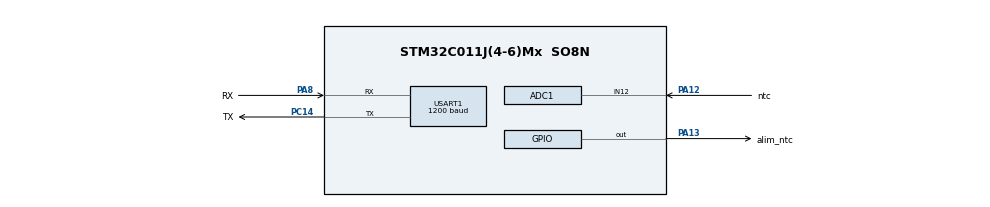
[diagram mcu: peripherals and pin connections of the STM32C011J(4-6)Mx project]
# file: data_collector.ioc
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ADC1.Channel-0\#ChannelRegularConversion=ADC_CHANNEL_TEMPSENSOR
ADC1.Channel-1\#ChannelRegularConversion=ADC_CHANNEL_VREFINT
ADC1.Channel-2\#ChannelRegularConversion=ADC_CHANNEL_VDDA
ADC1.Channel-3\#ChannelRegularConversion=ADC_CHANNEL_12
ADC1.ClockPrescaler=ADC_CLOCK_SYNC_PCLK_DIV1
ADC1.ContinuousConvMode=DISABLE
ADC1.DMAContinuousRequests=DISABLE
ADC1.EOCSelection=ADC_EOC_SINGLE_CONV
ADC1.ExternalTrigConv=ADC_SOFTWARE_START
ADC1.NbrOfConversion=4
ADC1.NbrOfConversionFlag=1
ADC1.OffsetNumber-3\#ChannelRegularConversion=ADC_OFFSET_NONE
ADC1.OversamplingMode=DISABLE
ADC1.Rank-0\#ChannelRegularConversion=1
ADC1.Rank-1\#ChannelRegularConversion=2
ADC1.Rank-2\#ChannelRegularConversion=3
ADC1.Rank-3\#ChannelRegularConversion=4
ADC1.SamplingTime-0\#ChannelRegularConversion=ADC_SAMPLINGTIME_COMMON_1
ADC1.SamplingTime-1\#ChannelRegularConversion=ADC_SAMPLINGTIME_COMMON_1
ADC1.SamplingTime-2\#ChannelRegularConversion=ADC_SAMPLINGTIME_COMMON_1
ADC1.SamplingTime-3\#ChannelRegularConversion=ADC_SAMPLINGTIME_COMMON_1
ADC1.SamplingTimeCommon1=ADC_SAMPLETIME_160CYCLES_5
ADC1.SamplingTimeCommon2=ADC_SAMPLETIME_160CYCLES_5
ADC1.SelectedChannel=ADC_CHANNEL_TEMPSENSOR|ADC_CHANNEL_VREFINT|ADC_CHANNEL_12|ADC_CHANNEL_VDDA
ADC1.Sequencer=FULLY_CONFIGURABLE
ADC1.TriggerFrequencyMode=ADC_TRIGGER_FREQ_LOW
ADC1.master=1
Mcu.Family=STM32C0
Mcu.Name=STM32C011J(4-6)Mx
Mcu.Package=SO8N
NVIC.ADC1_IRQn=true\:0\:0\:false\:false\:true\:true\:true\:true
NVIC.FLASH_IRQn=true\:0\:0\:false\:false\:true\:true\:true\:true
NVIC.RTC_IRQn=true\:0\:0\:false\:false\:true\:true\:true\:true
NVIC.USART1_IRQn=true\:0\:0\:false\:false\:true\:true\:true\:true
PA12\ [PA10].GPIO_Label=ntc
PA12\ [PA10].Mode=IN12
PA12\ [PA10].Signal=ADC1_IN12
PA13.GPIO_Label=alim_ntc
PA13.Signal=GPIO_Output
PA8.GPIO_Label=RX
PA8.GPIO_ModeDefaultPP=GPIO_MODE_AF_OD
PA8.Mode=Asynchronous
PA8.PinState=GPIO_PIN_RESET
PA8.Signal=USART1_RX
PA8__PA11\ [PA9].StandardMode=true
PC14-OSCX_IN\ (PC14).GPIO_Label=TX
PC14-OSCX_IN\ (PC14).Mode=Asynchronous
PC14-OSCX_IN\ (PC14).Signal=USART1_TX
PC14-OSCX_IN\ (PC14)__PB7.StandardMode=true
PC15-OSCX_OUT\ (PC15)__PA14-BOOT0__PB6.StandardMode=true
PF2-NRST__PA0__PA1__PA2.StandardMode=true
ProjectManager.HeapSize=0x200
ProjectManager.StackSize=0x400
ProjectManager.TargetToolchain=STM32CubeIDE
RCC.ADCFreq_Value=750000
RCC.AHBCLKDivider=RCC_HCLK_DIV8
RCC.AHBFreq_Value=93750
RCC.CortexFreq_Value=93750
RCC.EXTERNAL_CLOCK_VALUE=12288000
RCC.HCLKFreq_Value=93750
RCC.HSE_VALUE=8000000
RCC.HSIKERCLKDivider=RCC_HSIKER_DIV8
RCC.HSISYSCLKDivider=RCC_HSI_DIV64
RCC.HSI_VALUE=48000000
RCC.LSE_VALUE=32768
RCC.SYSCLKFreq_VALUE=750000
RTC.Alarm=RTC_ALARM_A
USART1.BaudRate=1200
USART1.VirtualMode-Asynchronous=VM_ASYNC
VP_ADC1_TempSens_Input.Mode=IN-TempSens
VP_ADC1_Vdda_Input.Mode=IN-VDDA
VP_ADC1_Vref_Input.Mode=IN-Vrefint
VP_RTC_VS_RTC_Activate.Mode=RTC_Enabled
VP_RTC_VS_RTC_Alarm_A_Intern.Mode=Alarm A
VP_RTC_VS_RTC_Calendar.Mode=RTC_Calendar
board=custom

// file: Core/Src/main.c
/* USER CODE BEGIN Header */
/**
  ******************************************************************************
  * @file           : main.c
  * @brief          : Main program body
  ******************************************************************************
  * @attention
  *
  * Copyright (c) 2025 STMicroelectronics.
  * All rights reserved.
  *
  * This software is licensed under terms that can be found in the LICENSE file
  * in the root directory of this software component.
  * If no LICENSE file comes with this software, it is provided AS-IS.
  *
  ******************************************************************************
  Normal current sleep consumption (sleeping) = 110uA
  The battery CR2032 (220mAh) will work for 80days (2000 hours)

  STM32C011J6Mx works from 1.7V up to 3.6V
  connections
  GND---ntc10k--PA8(ntc)--res20k-----PA13(alim_ntc)
  PA12(memory_print)--switch---VDD
  PC14(TX)-->UART TX 1200BPS
  PC15--SWDCLK
  PC13--SWDIO
  PF2 --RESET
  PIN2--VDD
  PIN3--VSS GND
  Don't need external Crystal. It uses the internal RC.
  This schematics should consider 2 capacitors 0.1uF and 10uf between GND and VDD near the chip
  and 1uF on Reset Port NRST
  When press the switch send the latest 240(max) readings to UART TX 1200bps and clean the buffer
  You can configure the interval between readings from 1 to 60 minutes on main.h
  "#define SLEEP_TIME 60  //how many minutes between measures"
  The readings are stored on internal RAM, then if you turn off the batteries,
  will lost the measures.

  When press the switch will output the readings. In this test the interval was configured as 1 minute.
  You can setup the initial date and time and compile.

04/08/25 12:38:04 T:22.2 3.1V
04/08/25 12:39:04 T:22.4 3.1V
04/08/25 12:40:04 T:22.2 3.1V
04/08/25 12:41:04 T:22.2 3.1V
04/08/25 12:42:04 T:22.1 3.1V
04/08/25 12:43:04 T:22.1 3.1V
04/08/25 12:44:04 T:22.1 3.1V
04/08/25 12:45:04 T:22.8 3.1V
04/08/25 12:46:04 T:22.5 3.1V
04/08/25 12:47:04 T:22.6 3.1V

  ******************************************************************************
  ******************************************************************************
  ******************************************************************************
  ******************************************************************************
  */
/* USER CODE END Header */
#include "main.h"
#include "adc.h"
#include "rtc.h"
#include "gpio.h"

/* USER CODE BEGIN Includes */

#include "stdio.h"
#include "math.h"
#include "stm32c0xx_ll_bus.h"
#include "stm32c0xx_hal.h"
#include "string.h"
#include "usart.h"

/* USER CODE END Includes */

/* USER CODE BEGIN PTD */

// QUEUE DEFINITION
 //fifo to TCP
fifo_queue q;
queue_item item;

//time
time_struct timestamp;

/* USER CODE END PTD */

/* USER CODE BEGIN PD */
//VARIABLE FOR AD CONVERSION
uint16_t ad_value =0;
uint32_t qty_of_samples=1;
/* USER CODE END PD */

/* USER CODE BEGIN PV */
relay_st relay;
relay_st relay_on_off(uint8_t control);
uint8_t triac_zc_on=OFF;
static uint16_t vref_raw,temp_raw,vdda_raw,ch12_raw;

flash_st flash_variable;
uint8_t calibration_completed=OFF;
uint32_t ext_cnt=0;
volatile uint8_t print_memory=OFF;
volatile uint8_t it_ready=ON;
char *str_cmd[QTY_CMD] = CMD_DEFINITION;
extern char rx_buffer[RX_BUFFER_SIZE];

/* USER CODE END PV */

void SystemClock_Config(void);

/* USER CODE BEGIN 0 */
typedef struct AdcValues{
  uint16_t Raw[2]; /* Raw values from ADC */
  double IntSensTmp; /* Temperature */
}adcval_t;
adcval_t Adc;
flag_t Flg = {0, };

uint32_t minutos_atual=0;

//redirect the printf to usart1
int _write(int file, char *ptr, int len) {
    for (int i = 0; i < len; i++) {
        while (!LL_USART_IsActiveFlag_TXE(USART1));  // Wait for the buffer to be empty
        LL_USART_TransmitData8(USART1, ptr[i]);  // Send a character
    }
    while (!LL_USART_IsActiveFlag_TC(USART1));  // Wait for the transmission to finish
    return len;
}

void exec_cmd(uint8_t cmd){
       switch(cmd){

       case 0:
    	   printf("CMD MEM\n\r");
    	   break;
       case 1:
    	   break;
       case 2:
    	   //Init_flash_logging();
    	   //Flash_EraseLogVariable(FLASH_PAGE_8,8);
   		   //flash_variable.working_timestamp=0;
   		   //flash_variable.index=0;
   		   //Flash_WriteRelayVariable(&flash_variable,FLASH_USER_START_ADDR);
    	   //printf("flash reseted\n\r");
    	   break;
       case 3:
    	   break;
       case 4:
    	   //flash_logg_update();
           //printf("force updated\n\r");
    	   break;
       default:

       }

}

void print_float(float number) {
    int32_t mantissa = (int32_t)number;  // Integer part
    float intermediate = number - mantissa;
    int32_t expoente = (int32_t)(intermediate * 100000); // Decimal part (5 digits)

    // Ensure the exponent is positive
    if (expoente < 0) expoente *= -1;

    // Correct printing ensuring 5 digits in the decimal part
    printf("%ld.%05ld", mantissa, expoente);
}

void print_float_1dec(float number) {
    int32_t mantissa = (int32_t)number;  // Integer part
    float intermediate = number - mantissa;
    int32_t expoente = (int32_t)(intermediate * 100000); // Decimal part (5 digits)

    // Ensure the exponent is positive
    if (expoente < 0) expoente *= -1;

    while (expoente >= 10) {
    	expoente /= 10;
        }
    // Correct printing ensuring 1 digit
    printf("%ld.%ld", mantissa, expoente);
}

void sort(float* data, int n) {
    for (int i = 0; i < n - 1; ++i) {

        for (int j = 0; j < n - i - 1; ++j) {
            if (data[j] > data[j + 1]) {
                float temp = data[j];
                data[j] = data[j + 1];
                data[j + 1] = temp;
            }
        }
    }
}

float trimmed_mean(float* data, int n, float trim_percentage) {
    int trim_count = (int)(n * trim_percentage / 100);
    sort(data, n);
    float sum = 0.0;
    for (int i = trim_count; i < n - trim_count; ++i) {
        sum += data[i];
    }
    int remaining_elements = n - 2 * trim_count;
    float trimmed_mean_value = sum / remaining_elements;
    return trimmed_mean_value;
}

void ADC_Init(void)
{
    // Enable temperature sensor and VrefInt
    LL_ADC_SetCommonPathInternalCh(ADC1_COMMON, LL_ADC_PATH_INTERNAL_TEMPSENSOR | LL_ADC_PATH_INTERNAL_VREFINT);

    // ADC configuration
    LL_ADC_SetResolution(ADC1, LL_ADC_RESOLUTION_12B);
    LL_ADC_SetDataAlignment(ADC1, LL_ADC_DATA_ALIGN_RIGHT);
    LL_ADC_SetLowPowerMode(ADC1, LL_ADC_LP_MODE_NONE);

    // Configure channel sequence: Temperature (RANK 1) and VrefInt (RANK 2)
    LL_ADC_REG_SetSequencerRanks(ADC1, LL_ADC_REG_RANK_1, LL_ADC_CHANNEL_TEMPSENSOR);
    LL_ADC_REG_SetSequencerRanks(ADC1, LL_ADC_REG_RANK_2, LL_ADC_CHANNEL_VREFINT);
    LL_ADC_REG_SetSequencerRanks(ADC1, LL_ADC_REG_RANK_3, LL_ADC_CHANNEL_VDDA);
    LL_ADC_REG_SetSequencerRanks(ADC1, LL_ADC_REG_RANK_4, LL_ADC_CHANNEL_12);

    //LL_ADC_REG_SetSequencerScanDirection(ADC1, LL_ADC_REG_SEQ_SCAN_DIR_FORWARD);

    // Set sampling times for higher accuracy
    LL_ADC_SetChannelSamplingTime(ADC1, LL_ADC_CHANNEL_TEMPSENSOR, LL_ADC_SAMPLINGTIME_160CYCLES_5);
    LL_ADC_SetChannelSamplingTime(ADC1, LL_ADC_CHANNEL_VREFINT, LL_ADC_SAMPLINGTIME_160CYCLES_5);
    LL_ADC_SetChannelSamplingTime(ADC1, LL_ADC_CHANNEL_VDDA, LL_ADC_SAMPLINGTIME_160CYCLES_5);
    LL_ADC_SetChannelSamplingTime(ADC1, LL_ADC_CHANNEL_12, LL_ADC_SAMPLINGTIME_160CYCLES_5);

    // Enable the ADC
    LL_ADC_Enable(ADC1);

    // Wait for stabilization
    while (!LL_ADC_IsActiveFlag_ADRDY(ADC1));
}

static uint16_t ADC_ReadSingleChannel(uint32_t channel)
{
    uint32_t timeout;

    // garante ADC ligado
    if (!LL_ADC_IsEnabled(ADC1)) {
        LL_ADC_Enable(ADC1);
        while (!LL_ADC_IsActiveFlag_ADRDY(ADC1));
    }

    // habilita canais internos quando necessário
    if (channel == LL_ADC_CHANNEL_TEMPSENSOR ||
        channel == LL_ADC_CHANNEL_VREFINT  ||
        channel == LL_ADC_CHANNEL_VDDA)
    {
        LL_ADC_SetCommonPathInternalCh(__LL_ADC_COMMON_INSTANCE(ADC1),
            LL_ADC_PATH_INTERNAL_TEMPSENSOR |
            LL_ADC_PATH_INTERNAL_VREFINT  );
    }

    // sequenciador com 1 rank só
    LL_ADC_REG_SetSequencerLength(ADC1, LL_ADC_REG_SEQ_SCAN_DISABLE);
    LL_ADC_REG_SetSequencerRanks(ADC1, LL_ADC_REG_RANK_1, channel);

    // espera CCRDY (igual CubeMX faz)
    timeout = 100000;
    while (!LL_ADC_IsActiveFlag_CCRDY(ADC1) && --timeout);
    LL_ADC_ClearFlag_CCRDY(ADC1);

    // limpa flags antigas
    LL_ADC_ClearFlag_EOC(ADC1);
    LL_ADC_ClearFlag_EOS(ADC1);
    LL_ADC_ClearFlag_OVR(ADC1);

    // start conversão
    LL_ADC_REG_StartConversion(ADC1);

    // espera fim da conversão (agora é 1 canal só, EOC vem sempre)
    timeout = 1000000;
    while (!LL_ADC_IsActiveFlag_EOC(ADC1) && --timeout);
    if (timeout == 0) {
        printf("ADC timeout ch=%lu ISR=0x%08lx\n\r", channel, ADC1->ISR);
        return 0;
    }

    return LL_ADC_REG_ReadConversionData12(ADC1);
}

void ADC_Read_Temperature_And_Vref(uint16_t *temp_raw,
                                   uint16_t *vref_raw,
                                   uint16_t *vdda_raw,
                                   uint16_t *ch12_raw)
{
    *temp_raw = ADC_ReadSingleChannel(LL_ADC_CHANNEL_TEMPSENSOR);
    *vref_raw = ADC_ReadSingleChannel(LL_ADC_CHANNEL_VREFINT);
    *vdda_raw = ADC_ReadSingleChannel(LL_ADC_CHANNEL_VDDA);
    *ch12_raw = ADC_ReadSingleChannel(LL_ADC_CHANNEL_12);
}

float getTemperatureFromVoltage(float v_adc, float vdd) {
    // Temperatures in degrees Celsius
    static const float temps[] = {0, 5, 10, 15, 20, 25, 30, 35, 40, 45, 50};

    // Typical resistance of 10k NTC for each temperature (Ω)
    static const float r_ntc[] = {32650, 25200, 19560, 15300, 12100, 9600, 7700, 6200, 5000, 4050, 3300};

    // Expected voltage for each point (computed at runtime only in the 1st call)
    float volts[11];

    for (int i = 0; i < 11; i++) {
            volts[i] = vdd * (r_ntc[i] / (r_ntc[i] + RESISTOR_VALUE));
    }

    // Linear interpolation between two points in the table
    for (int i = 0; i < 10; i++) {
        if (v_adc <= volts[i] && v_adc >= volts[i + 1]) {
            float t = temps[i];
            float tNext = temps[i + 1];
            float v1 = volts[i];
            float v2 = volts[i + 1];
            return t + (v1 - v_adc) * (tNext - t) / (v1 - v2);
        }
    }

    // Out of range — optional: extrapolation or return error
    return -100.0f;
}

sensor_item Get_Temperature(void)
{

	sensor_item data;

    #define VREF_VOLTAGE_CALIBRATION 3.3f //AT THE MANUAL IS WROTE 3.0VOLTS Raw data acquired at a temperature of 30 °C (± 5 °C), VDDA = VREF+ = 3.0 V (± 10 mV)
    #define AVG_SLOPE (0.00253f) //  volts/grau
    #define VREFINT_CAL  (*((uint16_t*)0x1FFF756A)) // Valor de calibração de referência
    #define TS_CAL_30      (*((uint16_t*)0x1FFF7568)) // ADC value @ 30°C VDDA 3.3V

    #define TEMPERATURE_CALIBRATION 16 // ADJUST HERE THE CORRECT TEMPERATURE OF CALIBRATION
    //#define CALIBRATION_ERROR_ADJUST -5 //degree
    #define VOLTAGE_ERROR_ADJUST 0.022
	//COMPENSATION
    #define FATOR_A 3.883f
    #define FATOR_B -11.60f

	float Temperature=0,Internal_Temperature=0, V_Temp=0,V_Cal_30=0,V_Ad12=0;
	//static uint16_t vref_raw,temp_raw,vdda_raw,ch12_raw;
    float vdda_real=0;
    ADC_Read_Temperature_And_Vref(&temp_raw,&vref_raw,&vdda_raw,&ch12_raw);

#ifdef PRINT_A
	printf("temp_raw: %d, ref_raw: %d, vdda_raw: %d, ch12_raw: %d\n\r", temp_raw, vref_raw,vdda_raw,ch12_raw);
    printf("VREFINT_CAL:%d\n\r",VREFINT_CAL);
    printf("TS_CAL_30:%d\n\r",TS_CAL_30);
#endif

	//vdda_real= VOLTAGE_ERROR_ADJUST+ (VREF_VOLTAGE_CALIBRATION * (*VREFINT_CAL_ADDR)) / (float)vref_raw;  //resultado em Volts

	vdda_real = VOLTAGE_ERROR_ADJUST +( (VREF_VOLTAGE_CALIBRATION * (float)(*VREFINT_CAL_ADDR)) / (float)vref_raw);
    V_Cal_30 = (float)TS_CAL_30 * (VREF_VOLTAGE_CALIBRATION / 4095.0f);  //how many volts the sensor had at 30 degrees with VDDA at 3.3V with an error of ±5 degrees
    V_Temp   = (float)temp_raw *  (vdda_real / 4095.0f);  //how many volts the sensor is actually reading
    V_Ad12     = (float)ch12_raw *  (vdda_real / 4095.0f);
    Internal_Temperature = ((V_Temp -V_Cal_30) / AVG_SLOPE)+TEMPERATURE_CALIBRATION;
    Internal_Temperature = Internal_Temperature - (FATOR_A * vdda_real + FATOR_B);

#ifdef PRINT_A
    printf("vdda_real:");print_float(vdda_real);printf("\n\r");
    printf("V_Cal_30:");print_float(V_Cal_30);printf("\n\r");
    printf("V_Temp:");print_float(V_Temp);printf("\n\r");
    printf("Internal_Temp:");print_float(Internal_Temperature);printf("\n\r");
    printf("V_Ad12:");print_float(V_Ad12);printf("\n\r");
    printf("T_NTC:");print_float(getTemperatureFromVoltage(V_Ad12,vdda_real));printf("\n\r");

#endif

    //printf("T_NTC:");print_float(getTemperatureFromVoltage(V_Ad8,vdda_real));printf("\n\r");
    Temperature=getTemperatureFromVoltage(V_Ad12,vdda_real)+NTC_TEMPERATURE_ADJUST; //from NTC
    //deploy a factor to change the temperature using the vdda_real as parameter
    //print_float(Temperature);printf("\n\r");

    data.temp=Temperature;
    data.vdda_real=vdda_real;

    return data;  // Returns the integer temperature in °C

}

HAL_StatusTypeDef Flash_Write(flash_st *data,uint8_t page_number)
{
    HAL_StatusTypeDef status = HAL_OK;
    FLASH_EraseInitTypeDef eraseInitStruct;
    uint32_t PageError = 0;
    uint32_t flashAddress = (page_number * FLASH_PAGE_SIZE)+0x08000000; //2kbytes/page

    // Unlock the Flash
    HAL_FLASH_Unlock();

    // Configuration to erase the page where data will be written
    eraseInitStruct.TypeErase = FLASH_TYPEERASE_PAGES;
    eraseInitStruct.Page = 14;
    eraseInitStruct.NbPages = 1;

    status = HAL_FLASHEx_Erase(&eraseInitStruct, &PageError);
    if (status != HAL_OK)
    {
        HAL_FLASH_Lock();
        return status;
    }

    // Write the entire structure, 8 bytes at a time
    uint64_t *data_ptr = (uint64_t *)data;
    for (uint32_t i = 0; i < sizeof(flash_st) / sizeof(uint64_t); i++)
    {
        status = HAL_FLASH_Program(FLASH_TYPEPROGRAM_DOUBLEWORD, flashAddress, data_ptr[i]);
        if (status != HAL_OK)
        {
            HAL_FLASH_Lock();
            return status;
        }
        flashAddress += sizeof(uint64_t);
    }

    // Lock the Flash again
    HAL_FLASH_Lock();

    return HAL_OK;
}

HAL_StatusTypeDef Flash_Erase(uint8_t page_number,uint8_t qty_pages){
    HAL_StatusTypeDef status;
    FLASH_EraseInitTypeDef eraseInitStruct;
    uint32_t PageError = 0;

    // Unlock the flash memory for write access
    HAL_FLASH_Unlock();

    eraseInitStruct.TypeErase   = FLASH_TYPEERASE_PAGES;
    eraseInitStruct.NbPages     = qty_pages;
    //FLASH_PAGE_NB
    eraseInitStruct.Page = page_number;

    // Erase the flash page
    status = HAL_FLASHEx_Erase(&eraseInitStruct, &PageError);
    if (status != HAL_OK)
    {
        HAL_FLASH_Lock();
        return status;
    }

    // Lock the flash memory after writing
    HAL_FLASH_Lock();

    return HAL_OK;
}

void Flash_Read(flash_st *data,uint8_t page_number)
{
	uint32_t flashAddress_data=(page_number*FLASH_PAGE_SIZE)+0x08000000;
    memcpy(data, (void *)flashAddress_data, sizeof(flash_st));
}

sensor_item temperature_level_control(void){

	sensor_item data;
	//float temperature=0;
	float vdda;
	float temp[QUANT_DATA];
	uint32_t i=0;

   	while (i < QUANT_DATA){
   	  data =Get_Temperature();
      temp[i] = data.temp; //CALIBRATION ADJUSTED
      vdda= data.vdda_real;
      //temp[i] = Get_Temperature() ; //WITHOUT CALIBRATION ADJUST

	  i++;
  	}
  	//relay=relay_on_off(relay_present_status);

    data.temp=trimmed_mean(temp, QUANT_DATA, TRIM_PERCENTAGE);
    data.temp=FATOR_A_NTC*data.temp+FATOR_B_NTC;
    data.vdda_real=vdda;
    return data;
}

//QUEUE FUNCTIONS
void init_queue(fifo_queue *q)
{
    q->head = 0;
    q->tail = 0;
    q->count = 0;
}

//FIFO
int enqueue_FIFO(fifo_queue *q, queue_item item)
{
    if (q->count == QUEUE_SIZE)
    {
        // Queue full
        return -1;
    }

    q->buffer[q->tail] = item;
    q->tail = (q->tail + 1) % QUEUE_SIZE;
    q->count++;

    return 0; // Success
}

//circular queue with overwrite
int enqueue(fifo_queue *q, queue_item item)
{
    if (q->count == QUEUE_SIZE)
    {
        // Queue full: discard the oldest (head)
        q->head = (q->head + 1) % QUEUE_SIZE;
        q->count--; // since we are going to insert a new one, we decrement first
    }

    q->buffer[q->tail] = item;
    q->tail = (q->tail + 1) % QUEUE_SIZE;
    q->count++;

    return 0; // Success
}

int dequeue(fifo_queue *q, queue_item *item)
{
    if (q->count == 0)
    {
        // Queue empty
        return -1;
    }

    *item = q->buffer[q->head];
    q->head = (q->head + 1) % QUEUE_SIZE;
    q->count--;

    return 0; // Success
}
int is_empty(fifo_queue *q)
{
    return (q->count == 0);
}
int is_full(fifo_queue *q)
{
    return (q->count == QUEUE_SIZE);
}

void Ler_Tempo_RTC(uint8_t* horas, uint8_t* minutos)
{
    // Make sure you are accessing correctly (in RTC read sequence)
    LL_RTC_DisableWriteProtection(RTC);

    // Read the values in BCD
    uint8_t bcd_horas   = LL_RTC_TIME_GetHour(RTC);
    uint8_t bcd_minutos = LL_RTC_TIME_GetMinute(RTC);

    // Convert to decimal (BIN)
    *horas   = __LL_RTC_CONVERT_BCD2BIN(bcd_horas);
    *minutos = __LL_RTC_CONVERT_BCD2BIN(bcd_minutos);

    LL_RTC_EnableWriteProtection(RTC);
}

void button_pressed_test(void){
    uint32_t item_nro=1;
    //if press the button, print the queue
	if (print_memory==ON){
	   	print_memory=OFF;
		SystemClock_Config(); // Need to restore HSI + PLL if needed
		printf("Queue:\n\r");
    	while (dequeue(&q, &item) == 0) {

    		printf("%04ld %02d/%02d/%02d %02d:%02d:%02d ",item_nro,
    		       __LL_RTC_CONVERT_BCD2BIN(item.timestamp.bcd_dia),
    		       __LL_RTC_CONVERT_BCD2BIN(item.timestamp.bcd_mes),
    		       __LL_RTC_CONVERT_BCD2BIN(item.timestamp.bcd_ano),
    		       __LL_RTC_CONVERT_BCD2BIN(item.timestamp.bcd_horas),
    		       __LL_RTC_CONVERT_BCD2BIN(item.timestamp.bcd_minutos),
    		       __LL_RTC_CONVERT_BCD2BIN(item.timestamp.bcd_seconds));

    		printf("T:");print_float_1dec(item.temp);
    		printf(" ");print_float_1dec(item.vdda_real);printf("V\n\r");

    		item_nro++;

        }
    	printf("Queue End:\n\r");
    	//printf("T:");print_float_1dec(flash_variable.temp[i]);printf("\n\r");
    }

}

void Enter_Stop_Mode_old(void)
{
    // Turn off SysTick (optional if not used)
    SysTick->CTRL &= ~SysTick_CTRL_ENABLE_Msk;

    LL_USART_Disable(USART1);
    LL_ADC_Disable(ADC1);
    LL_DBGMCU_DisableDBGStopMode();

    // Configure entry into STOP mode
    LL_PWR_SetPowerMode(LL_PWR_MODE_STOP0);
    LL_LPM_EnableDeepSleep(); // SLEEPDEEP = 1

    __WFI();  // Enter STOP mode (wait for interrupt)

    // Upon wake-up, reconfigure clock if necessary
    SystemClock_Config(); // Need to restore HSI + PLL if needed

    MX_ADC1_Init();
    MX_USART1_UART_Init();
    ADC_Init();

}

void Enter_Stop_Mode(void)
{
    // ensure idle UART
    while (!LL_USART_IsActiveFlag_TC(USART1)) {}

    // Turn off SysTick (if HAL delays are not used while sleeping)
    SysTick->CTRL &= ~SysTick_CTRL_ENABLE_Msk;

    // Turn off peripherals that you will reinitialize later
    LL_USART_Disable(USART1);
    LL_ADC_Disable(ADC1);
    LL_DBGMCU_DisableDBGStopMode();

    // CLEAR any pending flags that would wake up immediately
    LL_EXTI_ClearRisingFlag_0_31(LL_EXTI_LINE_12); // button
    LL_EXTI_ClearRisingFlag_0_31(LL_EXTI_LINE_19); // RTC ALARM

    // Enter STOP0
    LL_PWR_SetPowerMode(LL_PWR_MODE_STOP0);
    LL_LPM_EnableDeepSleep();
    __WFI();

    // Upon waking: (optional) exit 'logical' deep sleep
    // LL_LPM_EnableSleep();

    // Restore the clock and SysTick
    SystemClock_Config();  // HSI + divisores + HAL_InitTick
    // Reinit only what you turned off
    MX_ADC1_Init();
    MX_USART1_UART_Init();
    ADC_Init();
}

void cmd_analise_task(void){
	int result;
        uint8_t i=0;
		while (i<QTY_CMD){
		 result = strcmp(str_cmd[i], rx_buffer);
		 if (!result)exec_cmd(i);
	     i++;
		}

}

/* USER CODE END 0 */

int main(void)
{

  /* MCU Configuration--------------------------------------------------------*/

  /* Reset of all peripherals, Initializes the Flash interface and the Systick. */
  HAL_Init();

  /* USER CODE BEGIN Init */

  init_queue(&q);
  /* USER CODE END Init */

  /* Configure the system clock */
  SystemClock_Config();

  /* Initialize all configured peripherals */
  MX_GPIO_Init();
  MX_ADC1_Init();
  MX_RTC_Init();
  /* USER CODE BEGIN 2 */
  MX_USART1_UART_Init_New();
  ADC_Init();

   printf("\n\r###START##SAMPLE EACH %02d MINUTE, %03d SAMPLES\n\r",SLEEP_TIME,QUEUE_SIZE);
  /*

  if(PRINT_MODE)printf("\n\r\n\r<MEMORY>\n\r");
  Flash_Read(&flash_variable,current_flash_page);
  while(i<QUANT_REGISTRY){
  	  printf("R:%03ld ",i);
   printf("T:");print_float_1dec(flash_variable.temp[i]);printf("\n\r");
	  i++;
  }
  if (!(LL_GPIO_IsInputPinSet(memory_GPIO_Port, memory_Pin))){
      Flash_Erase(current_flash_page,1);
      if(PRINT_MODE)printf("\n\r\n\r<Mem Erased>\n\r");
  }
  if(PRINT_MODE)printf("\n\r\n\r<Ready>\n\r");
 */

  /* USER CODE END 2 */

  /* Infinite loop */
  /* USER CODE BEGIN WHILE */
   it_ready=ON;
   sensor_item data;
  while (1)
  {
	Pin_Config_NTC_Alim();
	LL_GPIO_SetOutputPin(alim_ntc_GPIO_Port, alim_ntc_Pin);
	data=temperature_level_control();

	item.temp=data.temp;
	item.vdda_real=data.vdda_real;
	LL_GPIO_ResetOutputPin(alim_ntc_GPIO_Port, alim_ntc_Pin);
	Pin_Config_NTC_Disable();

	item.timestamp.bcd_dia=LL_RTC_DATE_GetDay(RTC);
	item.timestamp.bcd_mes=LL_RTC_DATE_GetMonth(RTC);
	item.timestamp.bcd_ano=LL_RTC_DATE_GetYear(RTC);
	item.timestamp.bcd_horas=LL_RTC_TIME_GetHour(RTC);
	item.timestamp.bcd_minutos=LL_RTC_TIME_GetMinute(RTC);
	item.timestamp.bcd_seconds=LL_RTC_TIME_GetSecond(RTC);
	enqueue(&q, item);

	printf("%06ld %02d/%02d/%02d %02d:%02d:%02d ",qty_of_samples,
	       __LL_RTC_CONVERT_BCD2BIN(item.timestamp.bcd_dia),
	       __LL_RTC_CONVERT_BCD2BIN(item.timestamp.bcd_mes),
	       __LL_RTC_CONVERT_BCD2BIN(item.timestamp.bcd_ano),
	       __LL_RTC_CONVERT_BCD2BIN(item.timestamp.bcd_horas),
	       __LL_RTC_CONVERT_BCD2BIN(item.timestamp.bcd_minutos),
	       __LL_RTC_CONVERT_BCD2BIN(item.timestamp.bcd_seconds));

	printf("T:");print_float_1dec(item.temp);
	printf(" ");print_float_1dec(item.vdda_real);printf("V\n\r");

	cmd_analise_task(); //verify input commands

	qty_of_samples++;
     if(!FAST_TEST_MODE)Enter_Stop_Mode();
     button_pressed_test();
     /* clear bounce before rearm */
     if (it_ready==OFF){
      LL_EXTI_ClearRisingFlag_0_31(LL_EXTI_LINE_12);
      NVIC_ClearPendingIRQ(EXTI4_15_IRQn);
      LL_EXTI_EnableIT_0_31(LL_EXTI_LINE_12);
      it_ready=ON;
     }
     if(FAST_TEST_MODE)LL_mDelay(1000);
     RTC_Set_Alarm();

    /* USER CODE END WHILE */

  }
}

void SystemClock_Config(void)
{

  /* HSI configuration and activation */
  LL_RCC_HSI_Enable();
  while(LL_RCC_HSI_IsReady() != 1)
  {
  }

  LL_RCC_HSI_SetCalibTrimming(64);
  LL_RCC_SetHSIDiv(LL_RCC_HSI_DIV_64);
  /* LSI configuration and activation */
  LL_RCC_LSI_Enable();
  while(LL_RCC_LSI_IsReady() != 1)
  {
  }

  /* Set AHB prescaler*/
  LL_RCC_SetAHBPrescaler(LL_RCC_HCLK_DIV_8);

  /* Sysclk activation on the HSI */
  LL_RCC_SetSysClkSource(LL_RCC_SYS_CLKSOURCE_HSI);
  while(LL_RCC_GetSysClkSource() != LL_RCC_SYS_CLKSOURCE_STATUS_HSI)
  {
  }

  /* Set APB1 prescaler*/
  LL_RCC_SetAPB1Prescaler(LL_RCC_APB1_DIV_1);
  /* Update CMSIS variable (which can be updated also through SystemCoreClockUpdate function) */
  LL_SetSystemCoreClock(93750);

   /* Update the time base */
  if (HAL_InitTick (TICK_INT_PRIORITY) != HAL_OK)
  {
    Error_Handler();
  }
}

void Error_Handler(void)
{
  __disable_irq();
  while (1)
  {
  }
}
